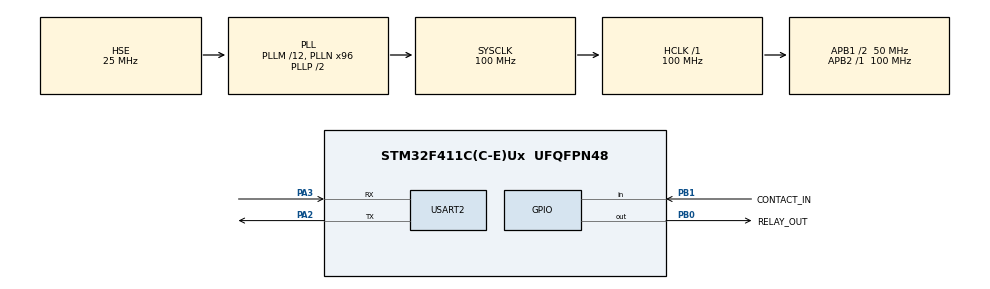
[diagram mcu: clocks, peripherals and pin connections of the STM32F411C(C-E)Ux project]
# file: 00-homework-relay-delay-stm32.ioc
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Mcu.Family=STM32F4
Mcu.Name=STM32F411C(C-E)Ux
Mcu.Package=UFQFPN48
NVIC.PriorityGroup=NVIC_PRIORITYGROUP_4
PA13.Mode=Serial_Wire
PA13.Signal=SYS_JTMS-SWDIO
PA14.Mode=Serial_Wire
PA14.Signal=SYS_JTCK-SWCLK
PA2.Mode=Asynchronous
PA2.Signal=USART2_TX
PA3.Mode=Asynchronous
PA3.Signal=USART2_RX
PB0.GPIO_Label=RELAY_OUT
PB0.Signal=GPIO_Output
PB1.GPIO_Label=CONTACT_IN
PB1.GPIO_PuPd=GPIO_PULLUP
PB1.Signal=GPIO_Input
PH0\ -\ OSC_IN.Mode=HSE-External-Oscillator
PH0\ -\ OSC_IN.Signal=RCC_OSC_IN
PH1\ -\ OSC_OUT.Mode=HSE-External-Oscillator
PH1\ -\ OSC_OUT.Signal=RCC_OSC_OUT
ProjectManager.HeapSize=0x200
ProjectManager.StackSize=0x400
ProjectManager.TargetToolchain=STM32CubeIDE
RCC.48MHZClocksFreq_Value=50000000
RCC.AHBFreq_Value=100000000
RCC.APB1CLKDivider=RCC_HCLK_DIV2
RCC.APB1Freq_Value=50000000
RCC.APB1TimFreq_Value=100000000
RCC.APB2Freq_Value=100000000
RCC.APB2TimFreq_Value=100000000
RCC.CortexFreq_Value=100000000
RCC.HCLKFreq_Value=100000000
RCC.HSE_VALUE=25000000
RCC.HSI_VALUE=16000000
RCC.LSE_VALUE=32768
RCC.PLLM=12
RCC.PLLN=96
RCC.PLLSourceVirtual=RCC_PLLSOURCE_HSE
RCC.SYSCLKFreq_VALUE=100000000
RCC.SYSCLKSource=RCC_SYSCLKSOURCE_PLLCLK
RCC.VCOOutputFreq_Value=200000000
TIM2.Prescaler=99
USART2.VirtualMode=VM_ASYNC
VP_TIM2_VS_ClockSourceINT.Mode=Internal
board=custom

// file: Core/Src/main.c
/* USER CODE BEGIN Header */
/**
  ******************************************************************************
  * @file           : main.c
  * @brief          : Main program body
  ******************************************************************************
  * @attention
  *
  * Copyright (c) 2026 STMicroelectronics.
  * All rights reserved.
  *
  * This software is licensed under terms that can be found in the LICENSE file
  * in the root directory of this software component.
  * If no LICENSE file comes with this software, it is provided AS-IS.
  *
  ******************************************************************************
  */
/* USER CODE END Header */
#include "main.h"

/* USER CODE BEGIN Includes */
#include <stdio.h>  // snprintf

/* USER CODE END Includes */

/* USER CODE BEGIN PD */
#define CONTACT_TIMEOUT_US 50000u  // 50 ms: the relay switches in 3-4 ms (measured), anything longer isn't the relay
                                   // (no power, a loose wire, power coming back during the wait)

/* USER CODE END PD */

TIM_HandleTypeDef htim2;

UART_HandleTypeDef huart2;

void SystemClock_Config(void);
static void MX_GPIO_Init(void);
static void MX_TIM2_Init(void);
static void MX_USART2_UART_Init(void);

/* USER CODE BEGIN 0 */
// Sends "<text> <us> us" over USART2. A number can't be a ready-made string, so snprintf builds the line.
static void print_us(const char *text, uint32_t us)
{
  char buf[64];
  int len = snprintf(buf, sizeof buf, "%s %lu us\r\n", text, us);  // uint32_t is unsigned long here: %lu
  HAL_UART_Transmit(&huart2, (uint8_t *)buf, len, HAL_MAX_DELAY);   // snprintf returned the length
}

/* USER CODE END 0 */

int main(void)
{

  /* MCU Configuration--------------------------------------------------------*/

  /* Reset of all peripherals, Initializes the Flash interface and the Systick. */
  HAL_Init();

  /* Configure the system clock */
  SystemClock_Config();

  /* Initialize all configured peripherals */
  MX_GPIO_Init();
  MX_TIM2_Init();
  MX_USART2_UART_Init();
  /* USER CODE BEGIN 2 */
  HAL_TIM_Base_Start(&htim2);

  uint32_t sum_on = 0, sum_off = 0;  // all times so far, in us; ~4200 us a cycle overflows after ~1 million cycles
  uint32_t count = 0;                // cycles so far

  /* USER CODE END 2 */

  /* Infinite loop */
  while (1)
  {

    /* USER CODE BEGIN 3 */
	  // ---- ON: command -> contact closes ----
	  GPIO_PinState before_on = HAL_GPIO_ReadPin(CONTACT_IN_GPIO_Port, CONTACT_IN_Pin);  // must be open (1): else nothing to time
	  uint32_t t0 = __HAL_TIM_GET_COUNTER(&htim2);                            // TIM2 counts microseconds (1 MHz)
	  HAL_GPIO_WritePin(RELAY_OUT_GPIO_Port, RELAY_OUT_Pin, GPIO_PIN_SET);    // PB0 high: the BC547 conducts, relay on
	  // busy-wait while open (1), at most 50 ms; now - t0 stays right when the counter wraps (unsigned subtraction)
	  while (HAL_GPIO_ReadPin(CONTACT_IN_GPIO_Port, CONTACT_IN_Pin) == GPIO_PIN_SET
	         && __HAL_TIM_GET_COUNTER(&htim2) - t0 < CONTACT_TIMEOUT_US) {}
	  uint32_t on_us = __HAL_TIM_GET_COUNTER(&htim2) - t0;                    // first touch, or the timeout
	  HAL_Delay(1000);

	  // ---- OFF: command -> contact opens ----
	  GPIO_PinState before_off = HAL_GPIO_ReadPin(CONTACT_IN_GPIO_Port, CONTACT_IN_Pin);  // must be closed (0): the relay
	                                                                          // may have dropped out by itself during the 1 s
	  t0 = __HAL_TIM_GET_COUNTER(&htim2);
	  HAL_GPIO_WritePin(RELAY_OUT_GPIO_Port, RELAY_OUT_Pin, GPIO_PIN_RESET);  // PB0 low: relay off
	  while (HAL_GPIO_ReadPin(CONTACT_IN_GPIO_Port, CONTACT_IN_Pin) == GPIO_PIN_RESET  // busy-wait while closed (0)
	         && __HAL_TIM_GET_COUNTER(&htim2) - t0 < CONTACT_TIMEOUT_US) {}
	  uint32_t off_us = __HAL_TIM_GET_COUNTER(&htim2) - t0;                   // the contact has just opened, or the timeout

	  // Prints come after both measurements: a print isn't timed. A cycle is dropped as a whole when a contact
	  // didn't start in the right state or didn't change within the timeout: either way one time is meaningless
	  // (a contact that is already open ends the OFF wait at once: "opened after 1 us").
	  if (before_on != GPIO_PIN_SET || before_off != GPIO_PIN_RESET
	      || on_us >= CONTACT_TIMEOUT_US || off_us >= CONTACT_TIMEOUT_US) {
	    HAL_UART_Transmit(&huart2, (uint8_t *)"no contact change, cycle skipped\r\n\r\n", 36, HAL_MAX_DELAY);
	  } else {
	    print_us("relay ON:  contact closed after", on_us);
	    print_us("relay OFF: contact opened after", off_us);
	    sum_on += on_us;
	    sum_off += off_us;

	    // ---- running average over the measured cycles ----
	    count++;
	    char buf[64];
	    int len = snprintf(buf, sizeof buf, "average of %lu: ON %lu us, OFF %lu us\r\n\r\n",  // blank line between cycles
	                       count, sum_on / count, sum_off / count);           // integer division: the fraction is dropped
	    HAL_UART_Transmit(&huart2, (uint8_t *)buf, len, HAL_MAX_DELAY);
	  }
	  HAL_Delay(1000);
  }
  /* USER CODE END 3 */
}

void SystemClock_Config(void)
{
  RCC_OscInitTypeDef RCC_OscInitStruct = {0};
  RCC_ClkInitTypeDef RCC_ClkInitStruct = {0};

  /** Configure the main internal regulator output voltage
  */
  __HAL_RCC_PWR_CLK_ENABLE();
  __HAL_PWR_VOLTAGESCALING_CONFIG(PWR_REGULATOR_VOLTAGE_SCALE1);

  /** Initializes the RCC Oscillators according to the specified parameters
  * in the RCC_OscInitTypeDef structure.
  */
  RCC_OscInitStruct.OscillatorType = RCC_OSCILLATORTYPE_HSE;
  RCC_OscInitStruct.HSEState = RCC_HSE_ON;
  RCC_OscInitStruct.PLL.PLLState = RCC_PLL_ON;
  RCC_OscInitStruct.PLL.PLLSource = RCC_PLLSOURCE_HSE;
  RCC_OscInitStruct.PLL.PLLM = 12;
  RCC_OscInitStruct.PLL.PLLN = 96;
  RCC_OscInitStruct.PLL.PLLP = RCC_PLLP_DIV2;
  RCC_OscInitStruct.PLL.PLLQ = 4;
  if (HAL_RCC_OscConfig(&RCC_OscInitStruct) != HAL_OK)
  {
    Error_Handler();
  }

  /** Initializes the CPU, AHB and APB buses clocks
  */
  RCC_ClkInitStruct.ClockType = RCC_CLOCKTYPE_HCLK|RCC_CLOCKTYPE_SYSCLK
                              |RCC_CLOCKTYPE_PCLK1|RCC_CLOCKTYPE_PCLK2;
  RCC_ClkInitStruct.SYSCLKSource = RCC_SYSCLKSOURCE_PLLCLK;
  RCC_ClkInitStruct.AHBCLKDivider = RCC_SYSCLK_DIV1;
  RCC_ClkInitStruct.APB1CLKDivider = RCC_HCLK_DIV2;
  RCC_ClkInitStruct.APB2CLKDivider = RCC_HCLK_DIV1;

  if (HAL_RCC_ClockConfig(&RCC_ClkInitStruct, FLASH_LATENCY_3) != HAL_OK)
  {
    Error_Handler();
  }
}

static void MX_TIM2_Init(void)
{

  TIM_ClockConfigTypeDef sClockSourceConfig = {0};
  TIM_MasterConfigTypeDef sMasterConfig = {0};

  htim2.Instance = TIM2;
  htim2.Init.Prescaler = 99;
  htim2.Init.CounterMode = TIM_COUNTERMODE_UP;
  htim2.Init.Period = 4294967295;
  htim2.Init.ClockDivision = TIM_CLOCKDIVISION_DIV1;
  htim2.Init.AutoReloadPreload = TIM_AUTORELOAD_PRELOAD_DISABLE;
  if (HAL_TIM_Base_Init(&htim2) != HAL_OK)
  {
    Error_Handler();
  }
  sClockSourceConfig.ClockSource = TIM_CLOCKSOURCE_INTERNAL;
  if (HAL_TIM_ConfigClockSource(&htim2, &sClockSourceConfig) != HAL_OK)
  {
    Error_Handler();
  }
  sMasterConfig.MasterOutputTrigger = TIM_TRGO_RESET;
  sMasterConfig.MasterSlaveMode = TIM_MASTERSLAVEMODE_DISABLE;
  if (HAL_TIMEx_MasterConfigSynchronization(&htim2, &sMasterConfig) != HAL_OK)
  {
    Error_Handler();
  }

}

static void MX_USART2_UART_Init(void)
{

  huart2.Instance = USART2;
  huart2.Init.BaudRate = 115200;
  huart2.Init.WordLength = UART_WORDLENGTH_8B;
  huart2.Init.StopBits = UART_STOPBITS_1;
  huart2.Init.Parity = UART_PARITY_NONE;
  huart2.Init.Mode = UART_MODE_TX_RX;
  huart2.Init.HwFlowCtl = UART_HWCONTROL_NONE;
  huart2.Init.OverSampling = UART_OVERSAMPLING_16;
  if (HAL_UART_Init(&huart2) != HAL_OK)
  {
    Error_Handler();
  }

}

static void MX_GPIO_Init(void)
{
  GPIO_InitTypeDef GPIO_InitStruct = {0};

  /* GPIO Ports Clock Enable */
  __HAL_RCC_GPIOH_CLK_ENABLE();
  __HAL_RCC_GPIOA_CLK_ENABLE();
  __HAL_RCC_GPIOB_CLK_ENABLE();

  /*Configure GPIO pin Output Level */
  HAL_GPIO_WritePin(RELAY_OUT_GPIO_Port, RELAY_OUT_Pin, GPIO_PIN_RESET);

  /*Configure GPIO pin : RELAY_OUT_Pin */
  GPIO_InitStruct.Pin = RELAY_OUT_Pin;
  GPIO_InitStruct.Mode = GPIO_MODE_OUTPUT_PP;
  GPIO_InitStruct.Pull = GPIO_NOPULL;
  GPIO_InitStruct.Speed = GPIO_SPEED_FREQ_LOW;
  HAL_GPIO_Init(RELAY_OUT_GPIO_Port, &GPIO_InitStruct);

  /*Configure GPIO pin : CONTACT_IN_Pin */
  GPIO_InitStruct.Pin = CONTACT_IN_Pin;
  GPIO_InitStruct.Mode = GPIO_MODE_INPUT;
  GPIO_InitStruct.Pull = GPIO_PULLUP;
  HAL_GPIO_Init(CONTACT_IN_GPIO_Port, &GPIO_InitStruct);

}

void Error_Handler(void)
{
  __disable_irq();
  while (1)
  {
  }
}
